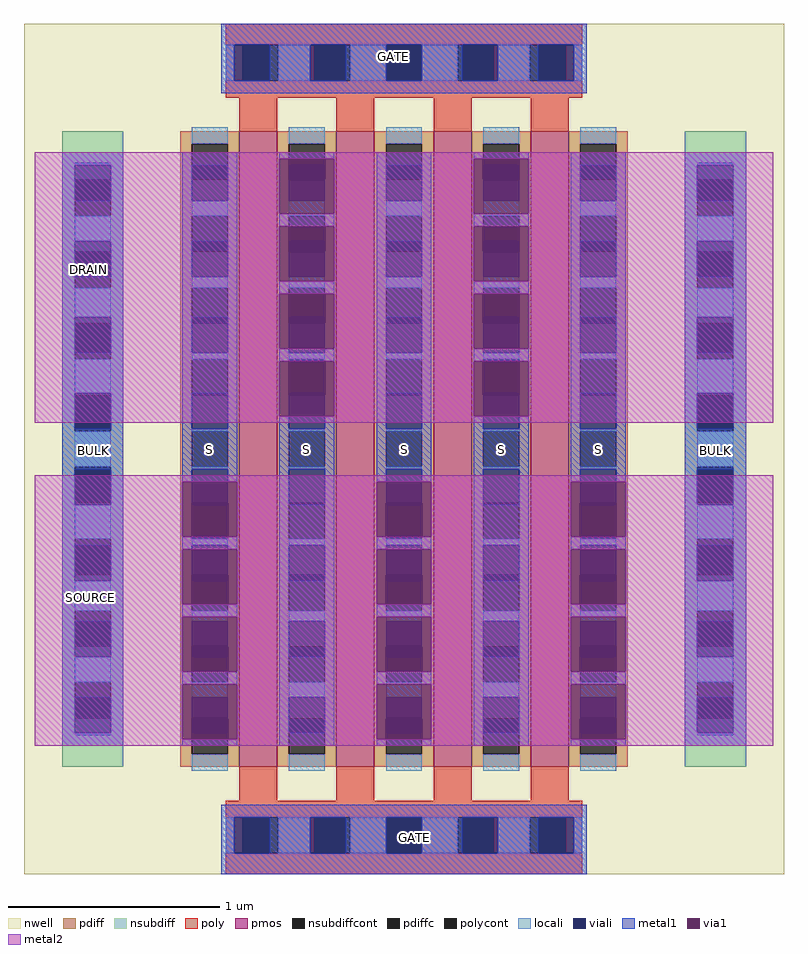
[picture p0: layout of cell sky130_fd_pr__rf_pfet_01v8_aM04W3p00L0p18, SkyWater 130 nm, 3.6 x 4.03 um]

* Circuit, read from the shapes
.subckt sky130_fd_pr__rf_pfet_01v8_aM04W3p00L0p18 BULK DRAIN GATE SOURCE
XM1 DRAIN GATE SOURCE BULK sky130_fd_pr__pfet_01v8 w=3.01 l=0.18 m=4
.ends

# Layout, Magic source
magic
tech sky130A
magscale 1 2
<< nwell >>
rect 0 0 720 806
<< pmos >>
rect 204 102 240 704
rect 296 102 332 704
rect 388 102 424 704
rect 480 102 516 704
<< pdiff >>
rect 148 692 204 704
rect 148 658 159 692
rect 193 658 204 692
rect 148 624 204 658
rect 148 590 159 624
rect 193 590 204 624
rect 148 556 204 590
rect 148 522 159 556
rect 193 522 204 556
rect 148 488 204 522
rect 148 454 159 488
rect 193 454 204 488
rect 148 420 204 454
rect 148 386 159 420
rect 193 386 204 420
rect 148 352 204 386
rect 148 318 159 352
rect 193 318 204 352
rect 148 284 204 318
rect 148 250 159 284
rect 193 250 204 284
rect 148 216 204 250
rect 148 182 159 216
rect 193 182 204 216
rect 148 148 204 182
rect 148 114 159 148
rect 193 114 204 148
rect 148 102 204 114
rect 240 692 296 704
rect 240 658 251 692
rect 285 658 296 692
rect 240 624 296 658
rect 240 590 251 624
rect 285 590 296 624
rect 240 556 296 590
rect 240 522 251 556
rect 285 522 296 556
rect 240 488 296 522
rect 240 454 251 488
rect 285 454 296 488
rect 240 420 296 454
rect 240 386 251 420
rect 285 386 296 420
rect 240 352 296 386
rect 240 318 251 352
rect 285 318 296 352
rect 240 284 296 318
rect 240 250 251 284
rect 285 250 296 284
rect 240 216 296 250
rect 240 182 251 216
rect 285 182 296 216
rect 240 148 296 182
rect 240 114 251 148
rect 285 114 296 148
rect 240 102 296 114
rect 332 692 388 704
rect 332 658 343 692
rect 377 658 388 692
rect 332 624 388 658
rect 332 590 343 624
rect 377 590 388 624
rect 332 556 388 590
rect 332 522 343 556
rect 377 522 388 556
rect 332 488 388 522
rect 332 454 343 488
rect 377 454 388 488
rect 332 420 388 454
rect 332 386 343 420
rect 377 386 388 420
rect 332 352 388 386
rect 332 318 343 352
rect 377 318 388 352
rect 332 284 388 318
rect 332 250 343 284
rect 377 250 388 284
rect 332 216 388 250
rect 332 182 343 216
rect 377 182 388 216
rect 332 148 388 182
rect 332 114 343 148
rect 377 114 388 148
rect 332 102 388 114
rect 424 692 480 704
rect 424 658 435 692
rect 469 658 480 692
rect 424 624 480 658
rect 424 590 435 624
rect 469 590 480 624
rect 424 556 480 590
rect 424 522 435 556
rect 469 522 480 556
rect 424 488 480 522
rect 424 454 435 488
rect 469 454 480 488
rect 424 420 480 454
rect 424 386 435 420
rect 469 386 480 420
rect 424 352 480 386
rect 424 318 435 352
rect 469 318 480 352
rect 424 284 480 318
rect 424 250 435 284
rect 469 250 480 284
rect 424 216 480 250
rect 424 182 435 216
rect 469 182 480 216
rect 424 148 480 182
rect 424 114 435 148
rect 469 114 480 148
rect 424 102 480 114
rect 516 692 572 704
rect 516 658 527 692
rect 561 658 572 692
rect 516 624 572 658
rect 516 590 527 624
rect 561 590 572 624
rect 516 556 572 590
rect 516 522 527 556
rect 561 522 572 556
rect 516 488 572 522
rect 516 454 527 488
rect 561 454 572 488
rect 516 420 572 454
rect 516 386 527 420
rect 561 386 572 420
rect 516 352 572 386
rect 516 318 527 352
rect 561 318 572 352
rect 516 284 572 318
rect 516 250 527 284
rect 561 250 572 284
rect 516 216 572 250
rect 516 182 527 216
rect 561 182 572 216
rect 516 148 572 182
rect 516 114 527 148
rect 561 114 572 148
rect 516 102 572 114
<< pdiffc >>
rect 159 658 193 692
rect 159 590 193 624
rect 159 522 193 556
rect 159 454 193 488
rect 159 386 193 420
rect 159 318 193 352
rect 159 250 193 284
rect 159 182 193 216
rect 159 114 193 148
rect 251 658 285 692
rect 251 590 285 624
rect 251 522 285 556
rect 251 454 285 488
rect 251 386 285 420
rect 251 318 285 352
rect 251 250 285 284
rect 251 182 285 216
rect 251 114 285 148
rect 343 658 377 692
rect 343 590 377 624
rect 343 522 377 556
rect 343 454 377 488
rect 343 386 377 420
rect 343 318 377 352
rect 343 250 377 284
rect 343 182 377 216
rect 343 114 377 148
rect 435 658 469 692
rect 435 590 469 624
rect 435 522 469 556
rect 435 454 469 488
rect 435 386 469 420
rect 435 318 469 352
rect 435 250 469 284
rect 435 182 469 216
rect 435 114 469 148
rect 527 658 561 692
rect 527 590 561 624
rect 527 522 561 556
rect 527 454 561 488
rect 527 386 561 420
rect 527 318 561 352
rect 527 250 561 284
rect 527 182 561 216
rect 527 114 561 148
<< nsubdiff >>
rect 36 658 94 704
rect 36 624 48 658
rect 82 624 94 658
rect 36 590 94 624
rect 36 556 48 590
rect 82 556 94 590
rect 36 522 94 556
rect 36 488 48 522
rect 82 488 94 522
rect 36 454 94 488
rect 36 420 48 454
rect 82 420 94 454
rect 36 386 94 420
rect 36 352 48 386
rect 82 352 94 386
rect 36 318 94 352
rect 36 284 48 318
rect 82 284 94 318
rect 36 250 94 284
rect 36 216 48 250
rect 82 216 94 250
rect 36 182 94 216
rect 36 148 48 182
rect 82 148 94 182
rect 36 102 94 148
rect 626 658 684 704
rect 626 624 638 658
rect 672 624 684 658
rect 626 590 684 624
rect 626 556 638 590
rect 672 556 684 590
rect 626 522 684 556
rect 626 488 638 522
rect 672 488 684 522
rect 626 454 684 488
rect 626 420 638 454
rect 672 420 684 454
rect 626 386 684 420
rect 626 352 638 386
rect 672 352 684 386
rect 626 318 684 352
rect 626 284 638 318
rect 672 284 684 318
rect 626 250 684 284
rect 626 216 638 250
rect 672 216 684 250
rect 626 182 684 216
rect 626 148 638 182
rect 672 148 684 182
rect 626 102 684 148
<< nsubdiffcont >>
rect 48 624 82 658
rect 48 556 82 590
rect 48 488 82 522
rect 48 420 82 454
rect 48 352 82 386
rect 48 284 82 318
rect 48 216 82 250
rect 48 148 82 182
rect 638 624 672 658
rect 638 556 672 590
rect 638 488 672 522
rect 638 420 672 454
rect 638 352 672 386
rect 638 284 672 318
rect 638 216 672 250
rect 638 148 672 182
<< poly >>
rect 191 786 529 806
rect 191 752 207 786
rect 241 752 275 786
rect 309 752 343 786
rect 377 752 411 786
rect 445 752 479 786
rect 513 752 529 786
rect 191 736 529 752
rect 204 704 240 736
rect 296 704 332 736
rect 388 704 424 736
rect 480 704 516 736
rect 204 70 240 102
rect 296 70 332 102
rect 388 70 424 102
rect 480 70 516 102
rect 191 54 529 70
rect 191 20 207 54
rect 241 20 275 54
rect 309 20 343 54
rect 377 20 411 54
rect 445 20 479 54
rect 513 20 529 54
rect 191 0 529 20
<< polycont >>
rect 207 752 241 786
rect 275 752 309 786
rect 343 752 377 786
rect 411 752 445 786
rect 479 752 513 786
rect 207 20 241 54
rect 275 20 309 54
rect 343 20 377 54
rect 411 20 445 54
rect 479 20 513 54
<< locali >>
rect 191 752 199 786
rect 241 752 271 786
rect 309 752 343 786
rect 377 752 411 786
rect 449 752 479 786
rect 521 752 529 786
rect 159 692 193 708
rect 48 672 82 674
rect 48 600 82 624
rect 48 528 82 556
rect 48 456 82 488
rect 48 386 82 420
rect 48 318 82 350
rect 48 250 82 278
rect 48 182 82 206
rect 48 132 82 134
rect 159 624 193 638
rect 159 556 193 566
rect 159 488 193 494
rect 159 420 193 422
rect 159 384 193 386
rect 159 312 193 318
rect 159 240 193 250
rect 159 168 193 182
rect 159 98 193 114
rect 251 692 285 708
rect 251 624 285 638
rect 251 556 285 566
rect 251 488 285 494
rect 251 420 285 422
rect 251 384 285 386
rect 251 312 285 318
rect 251 240 285 250
rect 251 168 285 182
rect 251 98 285 114
rect 343 692 377 708
rect 343 624 377 638
rect 343 556 377 566
rect 343 488 377 494
rect 343 420 377 422
rect 343 384 377 386
rect 343 312 377 318
rect 343 240 377 250
rect 343 168 377 182
rect 343 98 377 114
rect 435 692 469 708
rect 435 624 469 638
rect 435 556 469 566
rect 435 488 469 494
rect 435 420 469 422
rect 435 384 469 386
rect 435 312 469 318
rect 435 240 469 250
rect 435 168 469 182
rect 435 98 469 114
rect 527 692 561 708
rect 527 624 561 638
rect 527 556 561 566
rect 527 488 561 494
rect 527 420 561 422
rect 527 384 561 386
rect 527 312 561 318
rect 527 240 561 250
rect 527 168 561 182
rect 638 672 672 674
rect 638 600 672 624
rect 638 528 672 556
rect 638 456 672 488
rect 638 386 672 420
rect 638 318 672 350
rect 638 250 672 278
rect 638 182 672 206
rect 638 132 672 134
rect 527 98 561 114
rect 191 20 199 54
rect 241 20 271 54
rect 309 20 343 54
rect 377 20 411 54
rect 449 20 479 54
rect 521 20 529 54
<< viali >>
rect 199 752 207 786
rect 207 752 233 786
rect 271 752 275 786
rect 275 752 305 786
rect 343 752 377 786
rect 415 752 445 786
rect 445 752 449 786
rect 487 752 513 786
rect 513 752 521 786
rect 48 658 82 672
rect 48 638 82 658
rect 48 590 82 600
rect 48 566 82 590
rect 48 522 82 528
rect 48 494 82 522
rect 48 454 82 456
rect 48 422 82 454
rect 48 352 82 384
rect 48 350 82 352
rect 48 284 82 312
rect 48 278 82 284
rect 48 216 82 240
rect 48 206 82 216
rect 48 148 82 168
rect 48 134 82 148
rect 159 658 193 672
rect 159 638 193 658
rect 159 590 193 600
rect 159 566 193 590
rect 159 522 193 528
rect 159 494 193 522
rect 159 454 193 456
rect 159 422 193 454
rect 159 352 193 384
rect 159 350 193 352
rect 159 284 193 312
rect 159 278 193 284
rect 159 216 193 240
rect 159 206 193 216
rect 159 148 193 168
rect 159 134 193 148
rect 251 658 285 672
rect 251 638 285 658
rect 251 590 285 600
rect 251 566 285 590
rect 251 522 285 528
rect 251 494 285 522
rect 251 454 285 456
rect 251 422 285 454
rect 251 352 285 384
rect 251 350 285 352
rect 251 284 285 312
rect 251 278 285 284
rect 251 216 285 240
rect 251 206 285 216
rect 251 148 285 168
rect 251 134 285 148
rect 343 658 377 672
rect 343 638 377 658
rect 343 590 377 600
rect 343 566 377 590
rect 343 522 377 528
rect 343 494 377 522
rect 343 454 377 456
rect 343 422 377 454
rect 343 352 377 384
rect 343 350 377 352
rect 343 284 377 312
rect 343 278 377 284
rect 343 216 377 240
rect 343 206 377 216
rect 343 148 377 168
rect 343 134 377 148
rect 435 658 469 672
rect 435 638 469 658
rect 435 590 469 600
rect 435 566 469 590
rect 435 522 469 528
rect 435 494 469 522
rect 435 454 469 456
rect 435 422 469 454
rect 435 352 469 384
rect 435 350 469 352
rect 435 284 469 312
rect 435 278 469 284
rect 435 216 469 240
rect 435 206 469 216
rect 435 148 469 168
rect 435 134 469 148
rect 527 658 561 672
rect 527 638 561 658
rect 527 590 561 600
rect 527 566 561 590
rect 527 522 561 528
rect 527 494 561 522
rect 527 454 561 456
rect 527 422 561 454
rect 527 352 561 384
rect 527 350 561 352
rect 527 284 561 312
rect 527 278 561 284
rect 527 216 561 240
rect 527 206 561 216
rect 527 148 561 168
rect 527 134 561 148
rect 638 658 672 672
rect 638 638 672 658
rect 638 590 672 600
rect 638 566 672 590
rect 638 522 672 528
rect 638 494 672 522
rect 638 454 672 456
rect 638 422 672 454
rect 638 352 672 384
rect 638 350 672 352
rect 638 284 672 312
rect 638 278 672 284
rect 638 216 672 240
rect 638 206 672 216
rect 638 148 672 168
rect 638 134 672 148
rect 199 20 207 54
rect 207 20 233 54
rect 271 20 275 54
rect 275 20 305 54
rect 343 20 377 54
rect 415 20 445 54
rect 445 20 449 54
rect 487 20 513 54
rect 513 20 521 54
<< metal1 >>
rect 187 786 533 806
rect 187 752 199 786
rect 233 752 271 786
rect 305 752 343 786
rect 377 752 415 786
rect 449 752 487 786
rect 521 752 533 786
rect 187 740 533 752
rect 36 672 94 684
rect 36 638 48 672
rect 82 638 94 672
rect 36 600 94 638
rect 36 566 48 600
rect 82 566 94 600
rect 36 528 94 566
rect 36 494 48 528
rect 82 494 94 528
rect 36 456 94 494
rect 36 422 48 456
rect 82 422 94 456
rect 36 384 94 422
rect 36 350 48 384
rect 82 350 94 384
rect 36 312 94 350
rect 36 278 48 312
rect 82 278 94 312
rect 36 240 94 278
rect 36 206 48 240
rect 82 206 94 240
rect 36 168 94 206
rect 36 134 48 168
rect 82 134 94 168
rect 36 122 94 134
rect 150 672 202 684
rect 150 638 159 672
rect 193 638 202 672
rect 150 600 202 638
rect 150 566 159 600
rect 193 566 202 600
rect 150 528 202 566
rect 150 494 159 528
rect 193 494 202 528
rect 150 456 202 494
rect 150 422 159 456
rect 193 422 202 456
rect 150 384 202 422
rect 150 372 159 384
rect 193 372 202 384
rect 150 312 202 320
rect 150 308 159 312
rect 193 308 202 312
rect 150 244 202 256
rect 150 180 202 192
rect 150 122 202 128
rect 242 678 294 684
rect 242 614 294 626
rect 242 550 294 562
rect 242 494 251 498
rect 285 494 294 498
rect 242 486 294 494
rect 242 422 251 434
rect 285 422 294 434
rect 242 384 294 422
rect 242 350 251 384
rect 285 350 294 384
rect 242 312 294 350
rect 242 278 251 312
rect 285 278 294 312
rect 242 240 294 278
rect 242 206 251 240
rect 285 206 294 240
rect 242 168 294 206
rect 242 134 251 168
rect 285 134 294 168
rect 242 122 294 134
rect 334 672 386 684
rect 334 638 343 672
rect 377 638 386 672
rect 334 600 386 638
rect 334 566 343 600
rect 377 566 386 600
rect 334 528 386 566
rect 334 494 343 528
rect 377 494 386 528
rect 334 456 386 494
rect 334 422 343 456
rect 377 422 386 456
rect 334 384 386 422
rect 334 372 343 384
rect 377 372 386 384
rect 334 312 386 320
rect 334 308 343 312
rect 377 308 386 312
rect 334 244 386 256
rect 334 180 386 192
rect 334 122 386 128
rect 426 678 478 684
rect 426 614 478 626
rect 426 550 478 562
rect 426 494 435 498
rect 469 494 478 498
rect 426 486 478 494
rect 426 422 435 434
rect 469 422 478 434
rect 426 384 478 422
rect 426 350 435 384
rect 469 350 478 384
rect 426 312 478 350
rect 426 278 435 312
rect 469 278 478 312
rect 426 240 478 278
rect 426 206 435 240
rect 469 206 478 240
rect 426 168 478 206
rect 426 134 435 168
rect 469 134 478 168
rect 426 122 478 134
rect 518 672 570 684
rect 518 638 527 672
rect 561 638 570 672
rect 518 600 570 638
rect 518 566 527 600
rect 561 566 570 600
rect 518 528 570 566
rect 518 494 527 528
rect 561 494 570 528
rect 518 456 570 494
rect 518 422 527 456
rect 561 422 570 456
rect 518 384 570 422
rect 518 372 527 384
rect 561 372 570 384
rect 518 312 570 320
rect 518 308 527 312
rect 561 308 570 312
rect 518 244 570 256
rect 518 180 570 192
rect 518 122 570 128
rect 626 672 684 684
rect 626 638 638 672
rect 672 638 684 672
rect 626 600 684 638
rect 626 566 638 600
rect 672 566 684 600
rect 626 528 684 566
rect 626 494 638 528
rect 672 494 684 528
rect 626 456 684 494
rect 626 422 638 456
rect 672 422 684 456
rect 626 384 684 422
rect 626 350 638 384
rect 672 350 684 384
rect 626 312 684 350
rect 626 278 638 312
rect 672 278 684 312
rect 626 240 684 278
rect 626 206 638 240
rect 672 206 684 240
rect 626 168 684 206
rect 626 134 638 168
rect 672 134 684 168
rect 626 122 684 134
rect 187 54 533 66
rect 187 20 199 54
rect 233 20 271 54
rect 305 20 343 54
rect 377 20 415 54
rect 449 20 487 54
rect 521 20 533 54
rect 187 0 533 20
<< via1 >>
rect 150 350 159 372
rect 159 350 193 372
rect 193 350 202 372
rect 150 320 202 350
rect 150 278 159 308
rect 159 278 193 308
rect 193 278 202 308
rect 150 256 202 278
rect 150 240 202 244
rect 150 206 159 240
rect 159 206 193 240
rect 193 206 202 240
rect 150 192 202 206
rect 150 168 202 180
rect 150 134 159 168
rect 159 134 193 168
rect 193 134 202 168
rect 150 128 202 134
rect 242 672 294 678
rect 242 638 251 672
rect 251 638 285 672
rect 285 638 294 672
rect 242 626 294 638
rect 242 600 294 614
rect 242 566 251 600
rect 251 566 285 600
rect 285 566 294 600
rect 242 562 294 566
rect 242 528 294 550
rect 242 498 251 528
rect 251 498 285 528
rect 285 498 294 528
rect 242 456 294 486
rect 242 434 251 456
rect 251 434 285 456
rect 285 434 294 456
rect 334 350 343 372
rect 343 350 377 372
rect 377 350 386 372
rect 334 320 386 350
rect 334 278 343 308
rect 343 278 377 308
rect 377 278 386 308
rect 334 256 386 278
rect 334 240 386 244
rect 334 206 343 240
rect 343 206 377 240
rect 377 206 386 240
rect 334 192 386 206
rect 334 168 386 180
rect 334 134 343 168
rect 343 134 377 168
rect 377 134 386 168
rect 334 128 386 134
rect 426 672 478 678
rect 426 638 435 672
rect 435 638 469 672
rect 469 638 478 672
rect 426 626 478 638
rect 426 600 478 614
rect 426 566 435 600
rect 435 566 469 600
rect 469 566 478 600
rect 426 562 478 566
rect 426 528 478 550
rect 426 498 435 528
rect 435 498 469 528
rect 469 498 478 528
rect 426 456 478 486
rect 426 434 435 456
rect 435 434 469 456
rect 469 434 478 456
rect 518 350 527 372
rect 527 350 561 372
rect 561 350 570 372
rect 518 320 570 350
rect 518 278 527 308
rect 527 278 561 308
rect 561 278 570 308
rect 518 256 570 278
rect 518 240 570 244
rect 518 206 527 240
rect 527 206 561 240
rect 561 206 570 240
rect 518 192 570 206
rect 518 168 570 180
rect 518 134 527 168
rect 527 134 561 168
rect 561 134 570 168
rect 518 128 570 134
<< metal2 >>
rect 10 678 710 684
rect 10 626 242 678
rect 294 626 426 678
rect 478 626 710 678
rect 10 614 710 626
rect 10 562 242 614
rect 294 562 426 614
rect 478 562 710 614
rect 10 550 710 562
rect 10 498 242 550
rect 294 498 426 550
rect 478 498 710 550
rect 10 486 710 498
rect 10 434 242 486
rect 294 434 426 486
rect 478 434 710 486
rect 10 428 710 434
rect 10 372 710 378
rect 10 320 150 372
rect 202 320 334 372
rect 386 320 518 372
rect 570 320 710 372
rect 10 308 710 320
rect 10 256 150 308
rect 202 256 334 308
rect 386 256 518 308
rect 570 256 710 308
rect 10 244 710 256
rect 10 192 150 244
rect 202 192 334 244
rect 386 192 518 244
rect 570 192 710 244
rect 10 180 710 192
rect 10 128 150 180
rect 202 128 334 180
rect 386 128 518 180
rect 570 128 710 180
rect 10 122 710 128
<< labels >>
flabel comment s 176 403 176 403 0 FreeSans 300 0 0 0 S
flabel comment s 268 403 268 403 0 FreeSans 300 0 0 0 S
flabel comment s 360 403 360 403 0 FreeSans 300 0 0 0 S
flabel comment s 452 403 452 403 0 FreeSans 300 0 0 0 S
flabel comment s 176 403 176 403 0 FreeSans 300 0 0 0 S
flabel comment s 268 403 268 403 0 FreeSans 300 0 0 0 D
flabel comment s 360 403 360 403 0 FreeSans 300 0 0 0 S
flabel comment s 452 403 452 403 0 FreeSans 300 0 0 0 D
flabel comment s 544 403 544 403 0 FreeSans 300 0 0 0 S
flabel metal1 s 321 762 379 787 0 FreeSans 100 0 0 0 GATE
port 3 nsew
flabel metal1 s 341 22 399 47 0 FreeSans 100 0 0 0 GATE
port 3 nsew
flabel metal1 s 638 396 672 407 0 FreeSans 100 0 0 0 BULK
port 1 nsew
flabel metal1 s 49 396 83 407 0 FreeSans 100 0 0 0 BULK
port 1 nsew
flabel metal2 s 54 540 69 606 0 FreeSans 100 0 0 0 DRAIN
port 2 nsew
flabel metal2 s 56 231 70 294 0 FreeSans 100 0 0 0 SOURCE
port 4 nsew
<< properties >>
string GDS_FILE $PDKPATH/libs.ref/sky130_fd_pr/gds/sky130_fd_pr.gds
string GDS_END 9479068
string GDS_START 9463502
<< end >>
